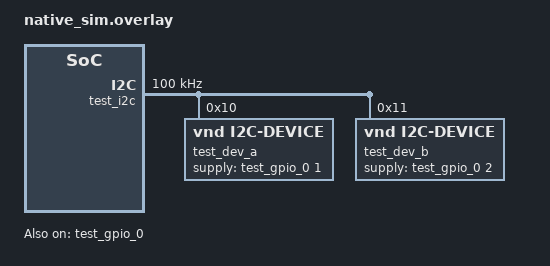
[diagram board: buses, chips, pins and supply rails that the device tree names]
/*
 * Copyright 2023 Google LLC
 *
 * SPDX-License-Identifier: Apache-2.0
 */

/ {
	test_gpio_0: gpio@ffff {
		compatible = "vnd,gpio-device";
		reg = <0xffff 0x1000>;
		gpio-controller;
		#gpio-cells = <0x2>;
		status = "okay";
	};

	test_i2c: i2c@11112222 {
		compatible = "vnd,i2c";
		reg = <0x11112222 0x1000>;
		#address-cells = <1>;
		#size-cells = <0>;
		clock-frequency = <100000>;
		status = "okay";

		test_dev_a: test-i2c-dev@10 {
			compatible = "vnd,i2c-device";
			reg = <0x10>;
			supply-gpios = <&test_gpio_0 1 0>;
			status = "okay";
		};

		test_dev_b: test-i2c-dev@11 {
			compatible = "vnd,i2c-device";
			reg = <0x11>;
			supply-gpios = <&test_gpio_0 2 0>;
			status = "okay";
		};
	};
};
